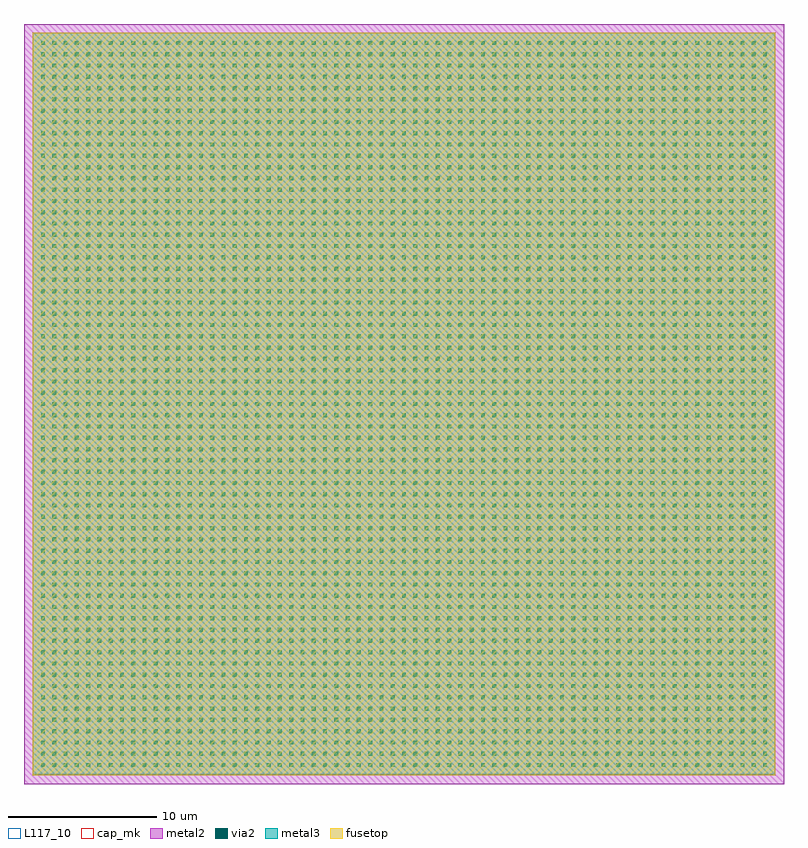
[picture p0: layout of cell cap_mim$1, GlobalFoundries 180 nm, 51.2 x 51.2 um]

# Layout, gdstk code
import gdstk
lib = gdstk.Library(unit=1e-6, precision=1e-09)
def R(c, l, rs):  # rectangles x0, y0, x1, y1
    for r in rs: c.add(gdstk.rectangle(r[:2], r[2:], *l))
def A(c, l, x, y, w, h, nx, ny, dx, dy):  # array of equal rectangles
    R(c, l, [(x+i*dx, y+j*dy, x+i*dx+w, y+j*dy+h) for i in range(nx) for j in range(ny)])
metal2 = (36, 0)
via2 = (38, 0)
metal3 = (42, 0)
fusetop = (75, 0)
cap_mk = (117, 5)
L117_10 = (117, 10)

cap_mim_1 = lib.new_cell('cap_mim$1')
R(cap_mim_1, metal2, [(-0.6,-0.6,50.6,50.6)])
A(cap_mim_1, via2, 0.55, 0.55, 0.26, 0.26, 65, 65, 0.76, 0.76)
R(cap_mim_1, metal3, [(0,0,50,50)])
R(cap_mim_1, fusetop, [(0,0,50,50)])
R(cap_mim_1, cap_mk, [(-0.6,-0.6,50.6,50.6)])
R(cap_mim_1, L117_10, [(0,0,50,0.1)])

lib.write_gds('cap_mim_1.gds')
